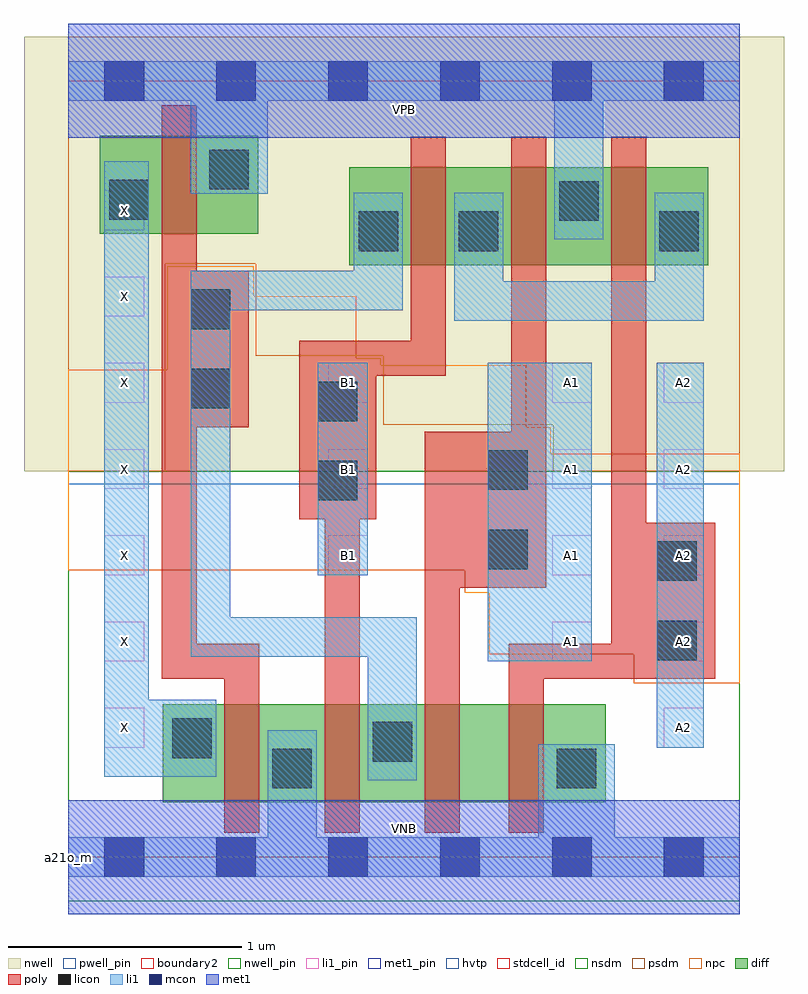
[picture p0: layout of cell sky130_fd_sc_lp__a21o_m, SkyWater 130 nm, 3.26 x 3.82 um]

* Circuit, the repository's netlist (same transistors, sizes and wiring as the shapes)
* Copyright 2020 The SkyWater PDK Authors
*
* Licensed under the Apache License, Version 2.0 (the "License");
* you may not use this file except in compliance with the License.
* You may obtain a copy of the License at
*
*     https://www.apache.org/licenses/LICENSE-2.0
*
* Unless required by applicable law or agreed to in writing, software
* distributed under the License is distributed on an "AS IS" BASIS,
* WITHOUT WARRANTIES OR CONDITIONS OF ANY KIND, either express or implied.
* See the License for the specific language governing permissions and
* limitations under the License.
*
* SPDX-License-Identifier: Apache-2.0

.SUBCKT sky130_fd_sc_lp__a21o_m A1 A2 B1 VGND VNB VPB VPWR X
*.PININFO A1:I A2:I B1:I VGND:I VNB:I VPB:I VPWR:I X:O
MMPA0 pndA A1 VPWR VPB sky130_fd_pr__pfet_01v8_hvt m=1 w=0.42U l=0.15U mult=1 sa=0.265
+ sb=0.265 sd=0.28 area=0.063 perim=1.14
MMPA1 pndA A2 VPWR VPB sky130_fd_pr__pfet_01v8_hvt m=1 w=0.42U l=0.15U mult=1 sa=0.265
+ sb=0.265 sd=0.28 area=0.063 perim=1.14
MMPB0 y B1 pndA VPB sky130_fd_pr__pfet_01v8_hvt m=1 w=0.42U l=0.15U mult=1 sa=0.265
+ sb=0.265 sd=0.28 area=0.063 perim=1.14
MMIPX X y VPWR VPB sky130_fd_pr__pfet_01v8_hvt m=1 w=0.42U l=0.15U mult=1 sa=0.265
+ sb=0.265 sd=0.28 area=0.063 perim=1.14
MMNA0 y A1 sndA1 VNB sky130_fd_pr__nfet_01v8 m=1 w=0.42U l=0.15U mult=1 sa=0.265
+ sb=0.265 sd=0.28 area=0.063 perim=1.14
MMNA1 sndA1 A2 VGND VNB sky130_fd_pr__nfet_01v8 m=1 w=0.42U l=0.15U mult=1 sa=0.265
+ sb=0.265 sd=0.28 area=0.063 perim=1.14
MMNB0 y B1 VGND VNB sky130_fd_pr__nfet_01v8 m=1 w=0.42U l=0.15U mult=1 sa=0.265
+ sb=0.265 sd=0.28 area=0.063 perim=1.14
MMINX X y VGND VNB sky130_fd_pr__nfet_01v8 m=1 w=0.42U l=0.15U mult=1 sa=0.265
+ sb=0.265 sd=0.28 area=0.063 perim=1.14
.ENDS sky130_fd_sc_lp__a21o_m

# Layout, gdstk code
import gdstk
lib = gdstk.Library(unit=1e-6, precision=1e-09)
def R(c, l, rs):  # rectangles x0, y0, x1, y1
    for r in rs: c.add(gdstk.rectangle(r[:2], r[2:], *l))
def A(c, l, x, y, w, h, nx, ny, dx, dy):  # array of equal rectangles
    R(c, l, [(x+i*dx, y+j*dy, x+i*dx+w, y+j*dy+h) for i in range(nx) for j in range(ny)])
def P(c, l, *ps):  # polygons
    for p in ps: c.add(gdstk.Polygon(p, *l))
nwell_pin = (64, 16)
nwell = (64, 20)
diff = (65, 20)
poly = (66, 20)
licon = (66, 44)
li1_pin = (67, 16)
li1 = (67, 20)
mcon = (67, 44)
met1_pin = (68, 16)
met1 = (68, 20)
hvtp = (78, 44)
stdcell_id = (81, 4)
nsdm = (93, 44)
psdm = (94, 20)
npc = (95, 20)
pwell_pin = (122, 16)
boundary2 = (236, 0)

sky130_fd_sc_lp__a21o_m = lib.new_cell('sky130_fd_sc_lp__a21o_m')
R(sky130_fd_sc_lp__a21o_m, nwell_pin, [(0,3.085,2.88,3.33)])
R(sky130_fd_sc_lp__a21o_m, nwell, [(-0.19,1.655,3.07,3.52)])
R(sky130_fd_sc_lp__a21o_m, diff, [(0.405,0.235,2.305,0.655), (1.205,2.54,2.745,2.96), (0.135,2.675,0.815,3.095)])
P(sky130_fd_sc_lp__a21o_m, poly, [(0.82,0.915),(0.55,0.915),(0.55,1.845),(0.775,1.845),(0.775,2.515),(0.55,2.515),(0.55,3.225),(0.4,3.225),(0.4,0.765),(0.67,0.765),(0.67,0.105),(0.82,0.105)],
  [(1.62,3.09),(1.47,3.09),(1.47,2.215),(0.99,2.215),(0.99,1.45),(1.1,1.45),(1.1,0.105),(1.25,0.105),(1.25,1.45),(1.32,1.45),(1.32,2.065),(1.62,2.065)],
  [(2.05,3.09),(1.9,3.09),(1.9,1.825),(1.53,1.825),(1.53,0.105),(1.68,0.105),(1.68,1.155),(2.05,1.155)],
  [(2.775,1.435),(2.48,1.435),(2.48,3.09),(2.33,3.09),(2.33,0.915),(1.89,0.915),(1.89,0.105),(2.04,0.105),(2.04,0.765),(2.775,0.765)])
R(sky130_fd_sc_lp__a21o_m, licon, [(0.875,0.295,1.045,0.465), (2.095,0.295,2.265,0.465), (1.305,0.41,1.475,0.58), (0.445,0.425,0.615,0.595), (2.525,0.845,2.695,1.015), (2.525,1.185,2.695,1.355), (1.8,1.235,1.97,1.405), (1.07,1.53,1.24,1.7), (1.8,1.575,1.97,1.745), (1.07,1.87,1.24,2.04), (0.525,1.925,0.695,2.095), (0.525,2.265,0.695,2.435), (1.245,2.6,1.415,2.77), (1.675,2.6,1.845,2.77), (2.535,2.6,2.705,2.77), (2.105,2.73,2.275,2.9), (0.175,2.735,0.345,2.905), (0.605,2.865,0.775,3.035)])
A(sky130_fd_sc_lp__a21o_m, li1_pin, 2.555, 0.47, 0.17, 0.17, 1, 5, 0, 0.37)
A(sky130_fd_sc_lp__a21o_m, li1_pin, 0.155, 1.21, 0.17, 0.17, 3, 3, 0.96, 0.37)
R(sky130_fd_sc_lp__a21o_m, li1_pin, [(0.155,0.47,0.325,0.64), (0.155,0.84,0.325,1.01), (2.075,0.84,2.245,1.01), (0.155,2.32,0.325,2.49), (0.155,2.69,0.325,2.86)])
R(sky130_fd_sc_lp__a21o_m, li1, [(2.525,0.47,2.725,2.12), (1.8,0.84,2.245,2.12), (1.07,1.21,1.285,2.12)])
P(sky130_fd_sc_lp__a21o_m, li1, [(0.525,2.845),(0.525,3.245),(0,3.245),(0,3.415),(2.88,3.415),(2.88,3.245),(2.295,3.245),(2.295,2.65),(2.085,2.65),(2.085,3.245),(0.855,3.245),(0.855,2.845)],
  [(2.015,0.085),(2.015,0.485),(2.345,0.485),(2.345,0.085),(2.88,0.085),(2.88,-0.085),(0,-0.085),(0,0.085),(0.855,0.085),(0.855,0.545),(1.065,0.545),(1.065,0.085)],
  [(1.285,0.33),(1.285,0.86),(0.525,0.86),(0.525,2.515),(1.225,2.515),(1.225,2.85),(1.435,2.85),(1.435,2.345),(0.695,2.345),(0.695,1.03),(1.495,1.03),(1.495,0.33)],
  [(0.155,0.345),(0.155,2.985),(0.345,2.985),(0.345,0.675),(0.635,0.675),(0.635,0.345)],
  [(2.515,2.47),(2.515,2.85),(2.725,2.85),(2.725,2.3),(1.655,2.3),(1.655,2.85),(1.865,2.85),(1.865,2.47)])
A(sky130_fd_sc_lp__a21o_m, mcon, 0.155, -0.085, 0.17, 0.17, 6, 2, 0.48, 3.33)
R(sky130_fd_sc_lp__a21o_m, met1_pin, [(0,0,2.88,0.245), (0,3.085,2.88,3.33)])
R(sky130_fd_sc_lp__a21o_m, met1, [(0,-0.245,2.88,0.245), (0,3.085,2.88,3.575)])
R(sky130_fd_sc_lp__a21o_m, hvtp, [(0,1.6,2.88,3.33)])
R(sky130_fd_sc_lp__a21o_m, stdcell_id, [(0,0,2.88,3.33)])
R(sky130_fd_sc_lp__a21o_m, nsdm, [(0,-0.19,2.88,1.655)])
P(sky130_fd_sc_lp__a21o_m, psdm, [(2.88,3.52),(0,3.52),(0,1.655),(0.415,1.655),(0.415,2.545),(0.805,2.545),(0.805,2.15),(1.35,2.15),(1.35,1.855),(2.08,1.855),(2.08,1.655),(2.88,1.655)])
P(sky130_fd_sc_lp__a21o_m, npc, [(2.88,1.73),(2.07,1.73),(2.07,1.845),(1.965,1.845),(1.965,2.11),(1.34,2.11),(1.34,2.14),(1.235,2.14),(1.235,2.405),(0.795,2.405),(0.795,2.535),(0.425,2.535),(0.425,2.09),(0,2.09),(0,1.23),(1.7,1.23),(1.7,1.135),(1.805,1.135),(1.805,0.87),(2.425,0.87),(2.425,0.745),(2.88,0.745)])
R(sky130_fd_sc_lp__a21o_m, pwell_pin, [(0,0,2.88,0.245)])
R(sky130_fd_sc_lp__a21o_m, boundary2, [(0,0,2.88,3.33)])
sky130_fd_sc_lp__a21o_m.add(gdstk.Label('VNB', (1.44,0.123), layer=64, texttype=59))
sky130_fd_sc_lp__a21o_m.add(gdstk.Label('VPB', (1.44,3.208), layer=64, texttype=5))
sky130_fd_sc_lp__a21o_m.add(gdstk.Label('a21o_m', (0,0), layer=83, texttype=44))
sky130_fd_sc_lp__a21o_m.add(gdstk.Label('VPWR', (1.44,3.208), layer=68, texttype=5))
sky130_fd_sc_lp__a21o_m.add(gdstk.Label('VGND', (1.44,0.123), layer=68, texttype=5))
sky130_fd_sc_lp__a21o_m.add(gdstk.Label('A1', (2.16,0.925), layer=67, texttype=5))
sky130_fd_sc_lp__a21o_m.add(gdstk.Label('A1', (2.16,1.295), layer=67, texttype=5))
sky130_fd_sc_lp__a21o_m.add(gdstk.Label('A1', (2.16,1.665), layer=67, texttype=5))
sky130_fd_sc_lp__a21o_m.add(gdstk.Label('A1', (2.16,2.035), layer=67, texttype=5))
sky130_fd_sc_lp__a21o_m.add(gdstk.Label('A2', (2.64,0.555), layer=67, texttype=5))
sky130_fd_sc_lp__a21o_m.add(gdstk.Label('A2', (2.64,0.925), layer=67, texttype=5))
sky130_fd_sc_lp__a21o_m.add(gdstk.Label('A2', (2.64,1.295), layer=67, texttype=5))
sky130_fd_sc_lp__a21o_m.add(gdstk.Label('A2', (2.64,1.665), layer=67, texttype=5))
sky130_fd_sc_lp__a21o_m.add(gdstk.Label('A2', (2.64,2.035), layer=67, texttype=5))
sky130_fd_sc_lp__a21o_m.add(gdstk.Label('B1', (1.2,1.295), layer=67, texttype=5))
sky130_fd_sc_lp__a21o_m.add(gdstk.Label('B1', (1.2,1.665), layer=67, texttype=5))
sky130_fd_sc_lp__a21o_m.add(gdstk.Label('B1', (1.2,2.035), layer=67, texttype=5))
sky130_fd_sc_lp__a21o_m.add(gdstk.Label('X', (0.24,0.555), layer=67, texttype=5))
sky130_fd_sc_lp__a21o_m.add(gdstk.Label('X', (0.24,0.925), layer=67, texttype=5))
sky130_fd_sc_lp__a21o_m.add(gdstk.Label('X', (0.24,1.295), layer=67, texttype=5))
sky130_fd_sc_lp__a21o_m.add(gdstk.Label('X', (0.24,1.665), layer=67, texttype=5))
sky130_fd_sc_lp__a21o_m.add(gdstk.Label('X', (0.24,2.035), layer=67, texttype=5))
sky130_fd_sc_lp__a21o_m.add(gdstk.Label('X', (0.24,2.405), layer=67, texttype=5))
sky130_fd_sc_lp__a21o_m.add(gdstk.Label('X', (0.24,2.775), layer=67, texttype=5))

lib.write_gds('sky130_fd_sc_lp__a21o_m.gds')
